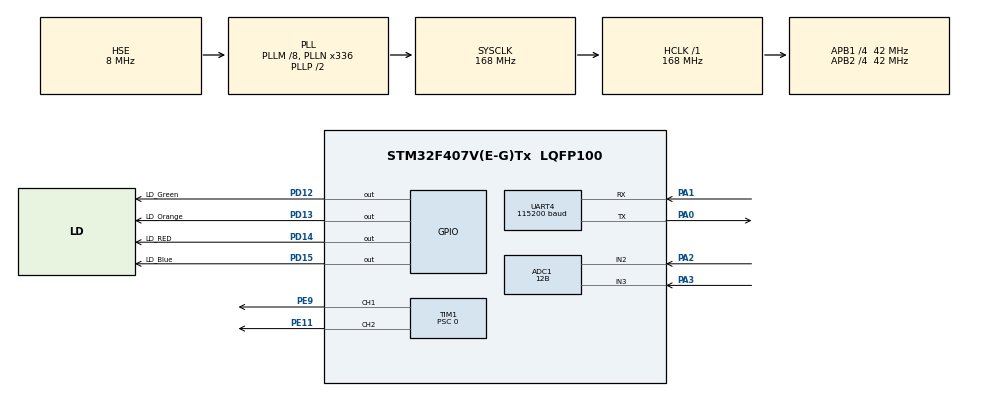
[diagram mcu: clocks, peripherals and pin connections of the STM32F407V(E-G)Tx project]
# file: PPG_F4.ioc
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ADC1.Channel-33\#ChannelRegularConversion=ADC_CHANNEL_2
ADC1.Channel-34\#ChannelRegularConversion=ADC_CHANNEL_3
ADC1.ClockPrescaler=ADC_CLOCK_SYNC_PCLK_DIV2
ADC1.ContinuousConvMode=DISABLE
ADC1.DMAContinuousRequests=ENABLE
ADC1.DataAlign=ADC_DATAALIGN_RIGHT
ADC1.DiscontinuousConvMode=DISABLE
ADC1.EOCSelection=ADC_EOC_SINGLE_CONV
ADC1.EnableAnalogWatchDog=false
ADC1.ExternalTrigConv=ADC_EXTERNALTRIGCONV_T2_TRGO
ADC1.ExternalTrigConvEdge=ADC_EXTERNALTRIGCONVEDGE_RISING
ADC1.InjNumberOfConversion=0
ADC1.NbrOfConversion=2
ADC1.NbrOfConversionFlag=1
ADC1.Rank-33\#ChannelRegularConversion=1
ADC1.Rank-34\#ChannelRegularConversion=2
ADC1.Resolution=ADC_RESOLUTION_12B
ADC1.SamplingTime-33\#ChannelRegularConversion=ADC_SAMPLETIME_3CYCLES
ADC1.SamplingTime-34\#ChannelRegularConversion=ADC_SAMPLETIME_3CYCLES
ADC1.ScanConvMode=ENABLE
ADC1.master=1
Dma.ADC1.0.Direction=DMA_PERIPH_TO_MEMORY
Dma.ADC1.0.FIFOMode=DMA_FIFOMODE_DISABLE
Dma.ADC1.0.Instance=DMA2_Stream0
Dma.ADC1.0.MemDataAlignment=DMA_MDATAALIGN_HALFWORD
Dma.ADC1.0.MemInc=DMA_MINC_ENABLE
Dma.ADC1.0.Mode=DMA_CIRCULAR
Dma.ADC1.0.PeriphDataAlignment=DMA_PDATAALIGN_HALFWORD
Dma.ADC1.0.PeriphInc=DMA_PINC_DISABLE
Dma.ADC1.0.Priority=DMA_PRIORITY_MEDIUM
Dma.Request0=ADC1
Mcu.Family=STM32F4
Mcu.Name=STM32F407V(E-G)Tx
Mcu.Package=LQFP100
NVIC.DMA2_Stream0_IRQn=true\:0\:0\:false\:false\:true
NVIC.PriorityGroup=NVIC_PRIORITYGROUP_0
PA0-WKUP.Mode=Asynchronous
PA0-WKUP.Signal=UART4_TX
PA1.Mode=Asynchronous
PA1.Signal=UART4_RX
PA13.Mode=Serial_Wire
PA13.Signal=SYS_JTMS-SWDIO
PA14.Mode=Serial_Wire
PA14.Signal=SYS_JTCK-SWCLK
PA2.Signal=ADCx_IN2
PA3.Signal=ADCx_IN3
PD12.GPIO_Label=LD_Green
PD12.Signal=GPIO_Output
PD13.GPIO_Label=LD_Orange
PD13.GPIO_ModeDefaultOutputPP=GPIO_MODE_OUTPUT_PP
PD13.GPIO_PuPd=GPIO_NOPULL
PD13.GPIO_Speed=GPIO_SPEED_FREQ_LOW
PD13.PinState=GPIO_PIN_RESET
PD13.Signal=GPIO_Output
PD14.GPIO_Label=LD_RED
PD14.GPIO_ModeDefaultOutputPP=GPIO_MODE_OUTPUT_PP
PD14.GPIO_PuPd=GPIO_NOPULL
PD14.GPIO_Speed=GPIO_SPEED_FREQ_LOW
PD14.PinState=GPIO_PIN_RESET
PD14.Signal=GPIO_Output
PD15.GPIO_Label=LD_Blue
PD15.Signal=GPIO_Output
PE11.GPIO_ModeDefaultPP=GPIO_MODE_AF_PP
PE11.GPIO_PuPd=GPIO_NOPULL
PE11.GPIO_Speed=GPIO_SPEED_FREQ_LOW
PE11.Signal=S_TIM1_CH2
PE9.GPIO_ModeDefaultPP=GPIO_MODE_AF_PP
PE9.GPIO_PuPd=GPIO_NOPULL
PE9.GPIO_Speed=GPIO_SPEED_FREQ_LOW
PE9.Signal=S_TIM1_CH1
PH0-OSC_IN.Mode=HSE-External-Oscillator
PH0-OSC_IN.Signal=RCC_OSC_IN
PH1-OSC_OUT.Mode=HSE-External-Oscillator
PH1-OSC_OUT.Signal=RCC_OSC_OUT
ProjectManager.HeapSize=0x200
ProjectManager.StackSize=0x400
ProjectManager.TargetToolchain=MDK-ARM V5
RCC.48MHZClocksFreq_Value=48000000
RCC.AHBFreq_Value=168000000
RCC.APB1CLKDivider=RCC_HCLK_DIV4
RCC.APB1Freq_Value=42000000
RCC.APB1TimFreq_Value=84000000
RCC.APB2CLKDivider=RCC_HCLK_DIV4
RCC.APB2Freq_Value=42000000
RCC.APB2TimFreq_Value=84000000
RCC.CortexFreq_Value=168000000
RCC.HCLKFreq_Value=168000000
RCC.HSE_VALUE=8000000
RCC.HSI_VALUE=16000000
RCC.LSE_VALUE=32768
RCC.PLLM=8
RCC.PLLN=336
RCC.PLLQ=7
RCC.PLLSourceVirtual=RCC_PLLSOURCE_HSE
RCC.SYSCLKFreq_VALUE=168000000
RCC.SYSCLKSource=RCC_SYSCLKSOURCE_PLLCLK
RCC.VCOOutputFreq_Value=336000000
SH.ADCx_IN2.0=ADC1_IN2,IN2
SH.ADCx_IN3.0=ADC1_IN3,IN3
SH.S_TIM1_CH1.0=TIM1_CH1,PWM Generation1 CH1
SH.S_TIM1_CH2.0=TIM1_CH2,PWM Generation2 CH2
TIM1.AutomaticOutput=TIM_AUTOMATICOUTPUT_DISABLE
TIM1.Channel-PWM\ Generation1\ CH1=TIM_CHANNEL_1
TIM1.Channel-PWM\ Generation2\ CH2=TIM_CHANNEL_2
TIM1.CounterMode=TIM_COUNTERMODE_CENTERALIGNED1
TIM1.LockLevel=TIM_LOCKLEVEL_OFF
TIM1.OCPolarity_2=TIM_OCPOLARITY_LOW
TIM1.OffStateIDLEMode=TIM_OSSI_DISABLE
TIM1.OffStateRunMode=TIM_OSSR_DISABLE
TIM1.Period=209
TIM1.Prescaler=0
TIM1.Pulse-PWM\ Generation1\ CH1=52
TIM1.Pulse-PWM\ Generation2\ CH2=157
TIM2.Period=10000
TIM2.Prescaler=41
TIM2.TIM_MasterOutputTrigger=TIM_TRGO_UPDATE
TIM2.TIM_MasterSlaveMode=TIM_MASTERSLAVEMODE_DISABLE
UART4.BaudRate=115200
UART4.VirtualMode=Asynchronous
VP_TIM2_VS_ClockSourceINT.Mode=Internal
board=STM32F4DISCOVERY

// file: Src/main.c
/**
  ******************************************************************************
  * File Name          : main.c
  * Description        : Main program body
  ******************************************************************************
  ** This notice applies to any and all portions of this file
  * that are not between comment pairs USER CODE BEGIN and
  * USER CODE END. Other portions of this file, whether
  * inserted by the user or by software development tools
  * are owned by their respective copyright owners.
  *
  * COPYRIGHT(c) 2017 STMicroelectronics
  *
  * Redistribution and use in source and binary forms, with or without modification,
  * are permitted provided that the following conditions are met:
  *   1. Redistributions of source code must retain the above copyright notice,
  *      this list of conditions and the following disclaimer.
  *   2. Redistributions in binary form must reproduce the above copyright notice,
  *      this list of conditions and the following disclaimer in the documentation
  *      and/or other materials provided with the distribution.
  *   3. Neither the name of STMicroelectronics nor the names of its contributors
  *      may be used to endorse or promote products derived from this software
  *      without specific prior written permission.
  *
  * THIS SOFTWARE IS PROVIDED BY THE COPYRIGHT HOLDERS AND CONTRIBUTORS "AS IS"
  * AND ANY EXPRESS OR IMPLIED WARRANTIES, INCLUDING, BUT NOT LIMITED TO, THE
  * IMPLIED WARRANTIES OF MERCHANTABILITY AND FITNESS FOR A PARTICULAR PURPOSE ARE
  * DISCLAIMED. IN NO EVENT SHALL THE COPYRIGHT HOLDER OR CONTRIBUTORS BE LIABLE
  * FOR ANY DIRECT, INDIRECT, INCIDENTAL, SPECIAL, EXEMPLARY, OR CONSEQUENTIAL
  * DAMAGES (INCLUDING, BUT NOT LIMITED TO, PROCUREMENT OF SUBSTITUTE GOODS OR
  * SERVICES; LOSS OF USE, DATA, OR PROFITS; OR BUSINESS INTERRUPTION) HOWEVER
  * CAUSED AND ON ANY THEORY OF LIABILITY, WHETHER IN CONTRACT, STRICT LIABILITY,
  * OR TORT (INCLUDING NEGLIGENCE OR OTHERWISE) ARISING IN ANY WAY OUT OF THE USE
  * OF THIS SOFTWARE, EVEN IF ADVISED OF THE POSSIBILITY OF SUCH DAMAGE.
  *
  ******************************************************************************
  */
#include "main.h"
#include "stm32f4xx_hal.h"
#include "adc.h"
#include "dma.h"
#include "tim.h"
#include "usart.h"
#include "gpio.h"

/* USER CODE BEGIN PV */
/* Private variables ---------------------------------------------------------*/
__IO uint16_t uhADC1ConvertedValue[2];
uint8_t UART_Buffer2[1] = ",";
uint8_t UART_Buffer3[1] = "\n";
/* USER CODE END PV */

void SystemClock_Config(void);

/* USER CODE BEGIN PFP */
/* Private function prototypes -----------------------------------------------*/
void send_number12(UART_HandleTypeDef*, uint16_t, uint32_t);
void HAL_ADC_ConvCpltCallback(ADC_HandleTypeDef* hadc);
/* USER CODE END PFP */

int main(void)
{

  /* MCU Configuration----------------------------------------------------------*/

  /* Reset of all peripherals, Initializes the Flash interface and the Systick. */
  HAL_Init();

  /* Configure the system clock */
  SystemClock_Config();

  /* Initialize all configured peripherals */
  MX_GPIO_Init();
  MX_DMA_Init();
  MX_TIM1_Init();
  MX_UART4_Init();
  MX_TIM2_Init();
  MX_ADC1_Init();

  /* USER CODE BEGIN 2 */
	//Starting two PWMs
	HAL_TIM_PWM_Start(&htim1, TIM_CHANNEL_1);
	HAL_TIM_PWM_Start(&htim1, TIM_CHANNEL_2);

	if(HAL_ADC_Start_DMA(&hadc1, (uint32_t *)uhADC1ConvertedValue, 2) != HAL_OK)
	{
		/* Start Conversation Error */
		Error_Handler();
	}
	if(HAL_TIM_Base_Start(&htim2) != HAL_OK)
	{
		/* Counter Enable Error */
		Error_Handler();
	}
  /* USER CODE END 2 */

  /* Infinite loop */
  while (1)
  {

  }

}

/** System Clock Configuration
*/
void SystemClock_Config(void)
{

  RCC_OscInitTypeDef RCC_OscInitStruct;
  RCC_ClkInitTypeDef RCC_ClkInitStruct;

    /**Configure the main internal regulator output voltage
    */
  __HAL_RCC_PWR_CLK_ENABLE();

  __HAL_PWR_VOLTAGESCALING_CONFIG(PWR_REGULATOR_VOLTAGE_SCALE1);

    /**Initializes the CPU, AHB and APB busses clocks
    */
  RCC_OscInitStruct.OscillatorType = RCC_OSCILLATORTYPE_HSE;
  RCC_OscInitStruct.HSEState = RCC_HSE_ON;
  RCC_OscInitStruct.PLL.PLLState = RCC_PLL_ON;
  RCC_OscInitStruct.PLL.PLLSource = RCC_PLLSOURCE_HSE;
  RCC_OscInitStruct.PLL.PLLM = 8;
  RCC_OscInitStruct.PLL.PLLN = 336;
  RCC_OscInitStruct.PLL.PLLP = RCC_PLLP_DIV2;
  RCC_OscInitStruct.PLL.PLLQ = 7;
  if (HAL_RCC_OscConfig(&RCC_OscInitStruct) != HAL_OK)
  {
    _Error_Handler(__FILE__, __LINE__);
  }

    /**Initializes the CPU, AHB and APB busses clocks
    */
  RCC_ClkInitStruct.ClockType = RCC_CLOCKTYPE_HCLK|RCC_CLOCKTYPE_SYSCLK
                              |RCC_CLOCKTYPE_PCLK1|RCC_CLOCKTYPE_PCLK2;
  RCC_ClkInitStruct.SYSCLKSource = RCC_SYSCLKSOURCE_PLLCLK;
  RCC_ClkInitStruct.AHBCLKDivider = RCC_SYSCLK_DIV1;
  RCC_ClkInitStruct.APB1CLKDivider = RCC_HCLK_DIV4;
  RCC_ClkInitStruct.APB2CLKDivider = RCC_HCLK_DIV4;

  if (HAL_RCC_ClockConfig(&RCC_ClkInitStruct, FLASH_LATENCY_5) != HAL_OK)
  {
    _Error_Handler(__FILE__, __LINE__);
  }

    /**Configure the Systick interrupt time
    */
  HAL_SYSTICK_Config(HAL_RCC_GetHCLKFreq()/1000);

    /**Configure the Systick
    */
  HAL_SYSTICK_CLKSourceConfig(SYSTICK_CLKSOURCE_HCLK);

  /* SysTick_IRQn interrupt configuration */
  HAL_NVIC_SetPriority(SysTick_IRQn, 0, 0);
}

/* USER CODE BEGIN 4 */

/**
  * @brief  This function converts integer to printable string
	* @param  UARTx : pointer to UART handle typedef
	*	@paran	num_value : integer value which is to be converted
	* @param timout : timout value needed for sending over UART
  * @retval None
  */
void send_number12(UART_HandleTypeDef* UARTx, uint16_t num_value, uint32_t timeout)
{
	uint8_t buffer[4] = "0000";
	int i=0;

	do
	{
		buffer[3 - i++] = (uint8_t)(num_value % 10) + 48;
		num_value /= 10;
	}
	while(num_value);

	HAL_UART_Transmit(UARTx, buffer, sizeof(buffer), timeout);
}
void HAL_ADC_ConvCpltCallback(ADC_HandleTypeDef* hadc)
{
	for(int i=0 ; i<2 ; i++)
	{
		send_number12(&huart4, uhADC1ConvertedValue[i], 250);
		if(i%2 == 1)
		{
			HAL_UART_Transmit(&huart4, UART_Buffer3, sizeof(UART_Buffer3),100);
		}
		else
		{
			HAL_UART_Transmit(&huart4, UART_Buffer2, sizeof(UART_Buffer2),100);
		}
	}
}
/* USER CODE END 4 */

void _Error_Handler(char * file, int line)
{
  /* USER CODE BEGIN Error_Handler_Debug */
  /* User can add his own implementation to report the HAL error return state */
  while(1)
  {
		HAL_GPIO_TogglePin(LD_RED_GPIO_Port, LD_RED_Pin);
		HAL_Delay(250);
  }
  /* USER CODE END Error_Handler_Debug */
}

/************************ (C) COPYRIGHT STMicroelectronics *****END OF FILE****/
